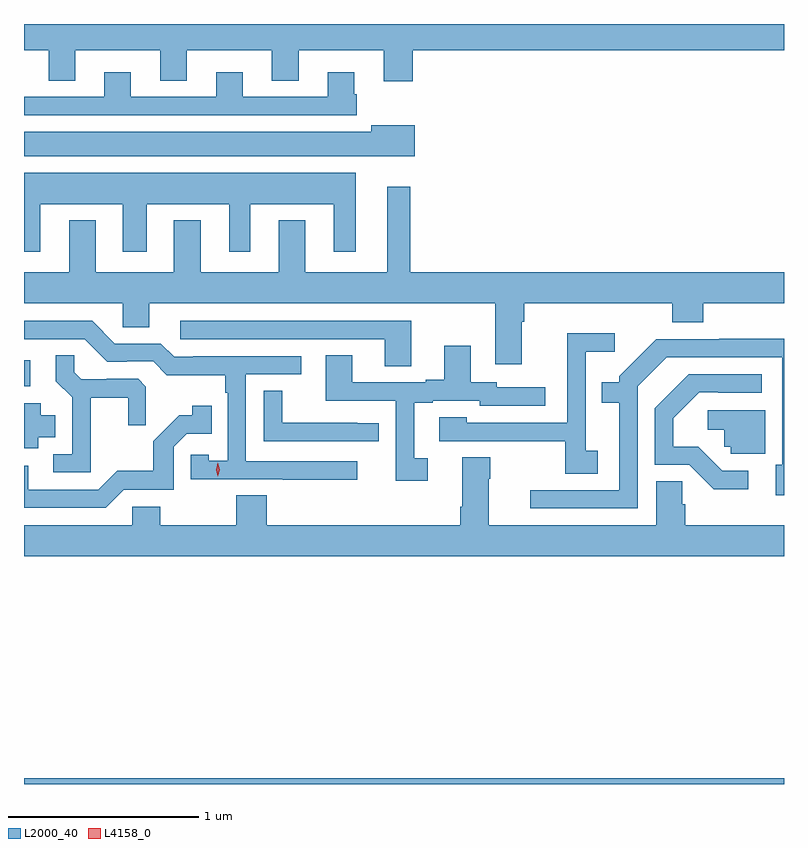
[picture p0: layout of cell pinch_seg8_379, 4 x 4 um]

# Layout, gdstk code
import gdstk
lib = gdstk.Library(unit=1e-6, precision=1e-09)
def R(c, l, rs):  # rectangles x0, y0, x1, y1
    for r in rs: c.add(gdstk.rectangle(r[:2], r[2:], *l))
def P(c, l, *ps):  # polygons
    for p in ps: c.add(gdstk.Polygon(p, *l))
L2000_40 = (2000, 40)
L4158_0 = (4158, 0)

pinch_seg8_379 = lib.new_cell('pinch_seg8_379')
R(pinch_seg8_379, L2000_40, [(468.02,1095.322,472.02,1095.352), (468.02,1097.415,468.052,1097.551)])
P(pinch_seg8_379, L2000_40, [(470.066,1099.184),(472.02,1099.184),(472.02,1099.322),(468.02,1099.322),(468.02,1099.184),(468.149,1099.184),(468.149,1099.024),(468.289,1099.024),(468.289,1099.184),(468.737,1099.184),(468.737,1099.024),(468.877,1099.024),(468.877,1099.184),(469.325,1099.184),(469.325,1099.024),(469.465,1099.024),(469.465,1099.184),(469.913,1099.184),(469.913,1099.02),(470.066,1099.02)],
  [(469.772,1098.951),(469.759,1098.951),(469.759,1099.069),(469.619,1099.069),(469.619,1098.939),(469.171,1098.939),(469.171,1099.069),(469.031,1099.069),(469.031,1098.939),(468.583,1098.939),(468.583,1099.069),(468.443,1099.069),(468.443,1098.939),(468.02,1098.939),(468.02,1098.843),(469.772,1098.843)],
  [(470.077,1098.79),(469.847,1098.79),(469.847,1098.754),(468.02,1098.754),(468.02,1098.626),(470.077,1098.626)],
  [(468.106,1098.374),(468.539,1098.374),(468.539,1098.123),(468.667,1098.123),(468.667,1098.374),(469.1,1098.374),(469.1,1098.123),(469.21,1098.123),(469.21,1098.374),(469.649,1098.374),(469.649,1098.123),(469.765,1098.123),(469.765,1098.538),(468.02,1098.538),(468.02,1098.123),(468.106,1098.123)],
  [(470.641,1097.756),(470.654,1097.756),(470.654,1097.852),(471.431,1097.852),(471.431,1097.753),(471.596,1097.753),(471.596,1097.852),(472.02,1097.852),(472.02,1098.016),(470.053,1098.016),(470.053,1098.466),(469.931,1098.466),(469.931,1098.016),(469.501,1098.016),(469.501,1098.289),(469.361,1098.289),(469.361,1098.016),(468.949,1098.016),(468.949,1098.289),(468.809,1098.289),(468.809,1098.016),(468.397,1098.016),(468.397,1098.289),(468.257,1098.289),(468.257,1098.016),(468.02,1098.016),(468.02,1097.852),(468.54,1097.852),(468.54,1097.725),(468.679,1097.725),(468.679,1097.852),(470.501,1097.852),(470.501,1097.532),(470.641,1097.532)],
  [(469.774,1097.022),(469.188,1097.022),(469.188,1097.478),(469.48,1097.478),(469.48,1097.574),(468.91,1097.574),(468.91,1097.571),(468.81,1097.571),(468.741,1097.64),(468.498,1097.64),(468.378,1097.76),(468.02,1097.76),(468.02,1097.664),(468.339,1097.664),(468.459,1097.544),(468.56,1097.544),(468.56,1097.547),(468.699,1097.547),(468.772,1097.474),(469.08,1097.474),(469.08,1097.381),(469.092,1097.381),(469.092,1097.023),(468.993,1097.023),(468.993,1097.055),(468.897,1097.055),(468.897,1096.926),(469.381,1096.926),(469.381,1096.924),(469.774,1096.924)],
  [(470.059,1097.76),(468.843,1097.76),(468.843,1097.664),(469.919,1097.664),(469.919,1097.521),(470.059,1097.521)],
  [(471.04,1097.076),(470.976,1097.076),(470.976,1097.597),(471.13,1097.597),(471.13,1097.695),(470.878,1097.695),(470.878,1097.456),(470.88,1097.456),(470.88,1097.223),(470.349,1097.223),(470.349,1097.251),(470.205,1097.251),(470.205,1097.127),(470.563,1097.127),(470.563,1097.125),(470.868,1097.125),(470.868,1096.954),(471.04,1096.954)],
  [(471.249,1097.415),(471.402,1097.568),(472.011,1097.568),(472.011,1097.002),(471.977,1097.002),(471.977,1096.842),(472.02,1096.842),(472.02,1097.666),(471.679,1097.666),(471.679,1097.664),(471.348,1097.664),(471.153,1097.469),(471.153,1097.437),(471.061,1097.437),(471.061,1097.328),(471.152,1097.328),(471.152,1096.869),(470.685,1096.869),(470.685,1096.773),(471.249,1096.773)],
  [(470.146,1097.037),(470.074,1097.037),(470.074,1097.328),(470.17,1097.328),(470.17,1097.34),(470.418,1097.34),(470.418,1097.313),(470.764,1097.313),(470.764,1097.409),(470.508,1097.409),(470.508,1097.436),(470.371,1097.436),(470.371,1097.629),(470.231,1097.629),(470.231,1097.449),(470.135,1097.449),(470.135,1097.436),(469.747,1097.436),(469.747,1097.579),(469.607,1097.579),(469.607,1097.34),(469.977,1097.34),(469.977,1096.917),(470.146,1096.917)],
  [(468.371,1097.354),(468.568,1097.354),(468.568,1097.211),(468.662,1097.211),(468.662,1097.413),(468.621,1097.454),(468.456,1097.454),(468.456,1097.451),(468.322,1097.451),(468.285,1097.488),(468.285,1097.579),(468.187,1097.579),(468.187,1097.443),(468.273,1097.357),(468.273,1097.058),(468.174,1097.058),(468.174,1096.962),(468.371,1096.962)],
  [(471.832,1096.971),(471.696,1096.971),(471.569,1097.098),(471.436,1097.098),(471.436,1097.248),(471.573,1097.385),(471.673,1097.385),(471.673,1097.382),(471.904,1097.382),(471.904,1097.478),(471.518,1097.478),(471.339,1097.299),(471.339,1097.001),(471.522,1097.001),(471.65,1096.874),(471.832,1096.874)],
  [(469.888,1097.222),(469.775,1097.222),(469.775,1097.223),(469.38,1097.223),(469.38,1097.393),(469.281,1097.393),(469.281,1097.127),(469.888,1097.127)],
  [(468.094,1097.147),(468.184,1097.147),(468.184,1097.263),(468.109,1097.263),(468.109,1097.326),(468.02,1097.326),(468.02,1097.09),(468.094,1097.09)],
  [(468.546,1096.872),(468.807,1096.872),(468.807,1097.097),(468.876,1097.166),(469.007,1097.166),(469.007,1097.314),(468.906,1097.314),(468.906,1097.264),(468.836,1097.264),(468.699,1097.126),(468.699,1096.971),(468.51,1096.971),(468.411,1096.872),(468.043,1096.872),(468.043,1096.998),(468.02,1096.998),(468.02,1096.776),(468.45,1096.776)],
  [(471.922,1097.289),(471.618,1097.289),(471.618,1097.186),(471.705,1097.186),(471.705,1097.097),(471.741,1097.097),(471.741,1097.061),(471.922,1097.061)],
  [(472.02,1096.684),(471.5,1096.684),(471.5,1096.794),(471.485,1096.794),(471.485,1096.916),(471.347,1096.916),(471.347,1096.684),(470.467,1096.684),(470.467,1096.928),(470.475,1096.928),(470.475,1097.041),(470.327,1097.041),(470.327,1096.78),(470.315,1096.78),(470.315,1096.684),(469.298,1096.684),(469.298,1096.841),(469.138,1096.841),(469.138,1096.684),(468.738,1096.684),(468.738,1096.782),(468.591,1096.782),(468.591,1096.684),(468.02,1096.684),(468.02,1096.52),(472.02,1096.52)])
P(pinch_seg8_379, L4158_0, [(469.04,1096.941),(469.04,1096.941),(469.031,1096.977),(469.041,1097.013),(469.041,1097.013),(469.041,1097.013),(469.05,1096.977),(469.04,1096.941)])

lib.write_gds('pinch_seg8_379.gds')
